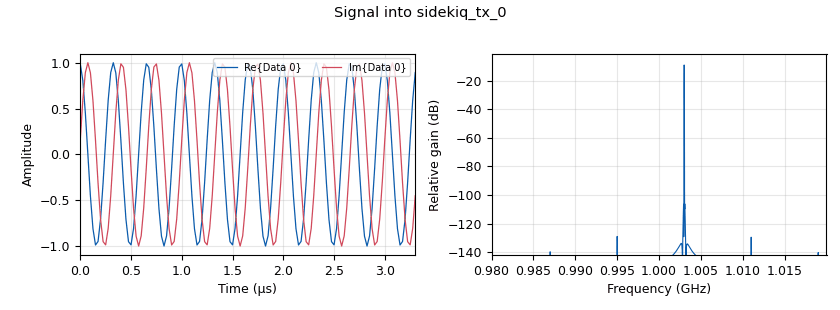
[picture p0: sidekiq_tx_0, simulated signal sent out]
options:
  parameters:
    generate_options: qt_gui
    id: top_block
    output_language: python
  states: {}

blocks:
- name: atten_quart_db
  id: variable_qtgui_range
  parameters:
    gui_hint: 0,1,1,1
    label: 'Attenuation '
    start: '0'
    step: '1'
    stop: max_attenuation
    value: '10'
  states: {}
- name: bandwidth
  id: variable_qtgui_range
  parameters:
    gui_hint: 1,1,1,1
    label: Bandwidth
    start: 0.1e6
    step: 0.1e6
    stop: max_sample_rate
    value: sample_rate * .8
  states: {}
- name: center_freq
  id: variable_qtgui_range
  parameters:
    gui_hint: 0,0,1,1
    label: Frequency
    start: 100e6
    step: 1e6
    stop: 6000e6
    value: 1000e6
  states: {}
- name: max_attenuation
  id: variable
  parameters:
    value: '359'
  states: {}
- name: max_sample_rate
  id: variable
  parameters:
    value: 122.88e6
  states: {}
- name: sample_rate
  id: variable_qtgui_range
  parameters:
    gui_hint: 1,0,1,1
    label: Sample Rate
    start: 0.1e6
    step: 0.1e6
    stop: max_sample_rate
    value: 40e6
  states: {}
- name: source_min_output_buffer
  id: variable
  parameters:
    value: 2**14*8
  states: {}
- name: suppress_tune_transients_chooser
  id: variable_qtgui_chooser
  parameters:
    label: Suppress Tune Transients
    label0: 'False'
    label1: 'True'
    num_opts: '2'
    option0: '0'
    option1: '1'
    type: int
    value: '0'
  states: {}
- name: tone_freq
  id: variable_qtgui_range
  parameters:
    start: '1000000'
    step: '1000000'
    stop: '20000000'
    value: '3000000'
  states: {}
- name: analog_sig_source_x_0
  id: analog_sig_source_x
  parameters:
    amp: '1'
    freq: tone_freq
    offset: '0'
    phase: '0'
    samp_rate: sample_rate
    type: complex
    waveform: analog.GR_COS_WAVE
  states: {}
- name: blocks_throttle_0
  id: blocks_throttle
  parameters:
    minoutbuf: source_min_output_buffer
    samples_per_second: sample_rate
    type: complex
  states: {}
- name: sidekiq_tx_0
  id: sidekiq_tx
  parameters:
    attenuation: atten_quart_db
    bandwidth: bandwidth
    buffer_size: '16380'
    card: '0'
    dataflow_mode: '0'
    filter_override_taps: ''
    frequency: center_freq
    handle: '0'
    sample_rate: sample_rate
    suppress_tune_transients: '0'
    sync: '1'
    threads: '4'
  states: {}

connections:
- [analog_sig_source_x_0, '0', blocks_throttle_0, '0']
- [blocks_throttle_0, '0', sidekiq_tx_0, '0']

metadata:
  file_format: 1
  grc_version: 3.10.3.0
